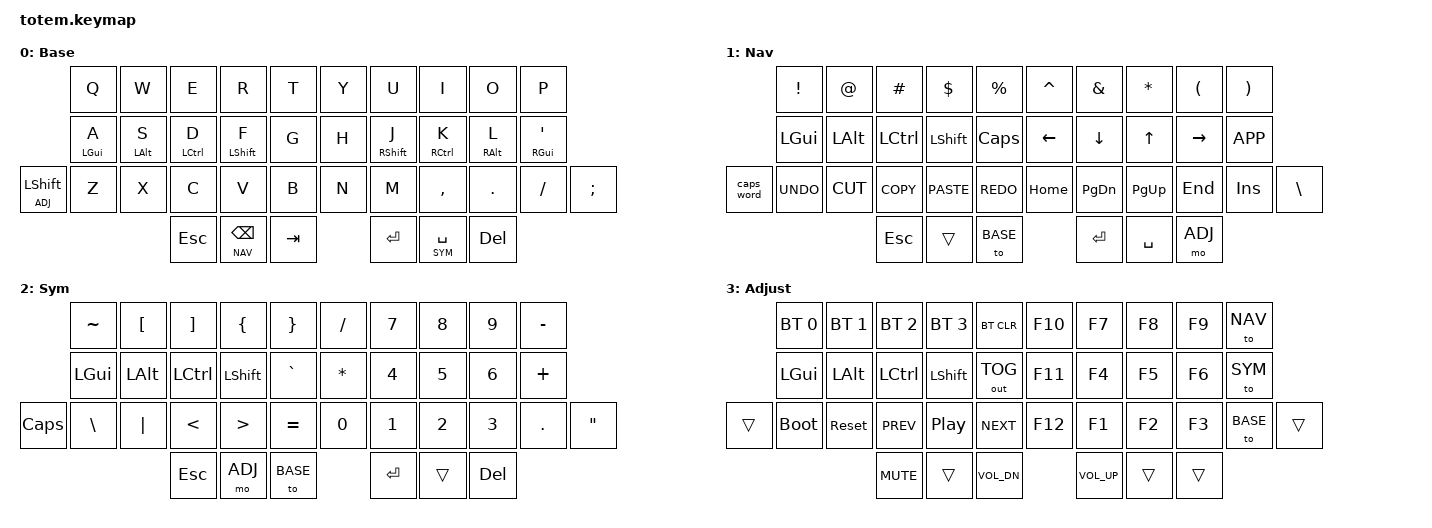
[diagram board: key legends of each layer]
#include <behaviors.dtsi>
#include <dt-bindings/zmk/keys.h>
#include <dt-bindings/zmk/bt.h>
#include <dt-bindings/zmk/outputs.h>

#define BASE 0
#define NAV  1
#define SYM  2
#define ADJ  3

// ---------------------------------------------------------------------------
// Verified key positions, taken from the stock TOTEM shield keymap.
//
//   0..9    top row     Q W E R T | Y U I O P
//   10..19  home row    A S D F G | H J K L '
//   20      LEFT PINKY  (sits at the start of the bottom row)
//   21..30  bottom row  Z X C V B | N M , . /
//   31      RIGHT PINKY (sits at the end of the bottom row)
//   32..34  left thumb  ESC SPACE TAB
//   35..37  right thumb RET BSPC DEL
//
// Note the two pinky keys flank the BOTTOM row, not the home row.
// ---------------------------------------------------------------------------

#define LEFT_KEYS  0 1 2 3 4 10 11 12 13 14 20 21 22 23 24 25
#define RIGHT_KEYS 5 6 7 8 9 15 16 17 18 19 26 27 28 29 30 31
#define THUMBS     32 33 34 35 36 37

/ {
    behaviors {
        // Left-hand home row mods. Only right-hand keys and thumbs can
        // trigger the hold, so same-hand rolls always resolve as taps.
        hml: home_row_mod_left {
            compatible = "zmk,behavior-hold-tap";
            #binding-cells = <2>;
            flavor = "balanced";
            tapping-term-ms = <280>;
            quick-tap-ms = <175>;
            require-prior-idle-ms = <150>;
            hold-trigger-key-positions = <RIGHT_KEYS THUMBS>;
            hold-trigger-on-release;
            bindings = <&kp>, <&kp>;
        };

        // Right-hand mirror.
        hmr: home_row_mod_right {
            compatible = "zmk,behavior-hold-tap";
            #binding-cells = <2>;
            flavor = "balanced";
            tapping-term-ms = <280>;
            quick-tap-ms = <175>;
            require-prior-idle-ms = <150>;
            hold-trigger-key-positions = <LEFT_KEYS THUMBS>;
            hold-trigger-on-release;
            bindings = <&kp>, <&kp>;
        };

        // Left pinky: tap for sticky shift, hold for the adjust layer.
        // tap-preferred because the tap is by far the more common intent.
        sl_shift: sticky_shift_or_layer {
            compatible = "zmk,behavior-hold-tap";
            #binding-cells = <2>;
            flavor = "tap-preferred";
            tapping-term-ms = <200>;
            bindings = <&mo>, <&sk>;
        };
    };

    conditional_layers {
        compatible = "zmk,conditional-layers";
        tri_layer {
            if-layers = <NAV SYM>;
            then-layer = <ADJ>;
        };
    };

    macros {
        macro_pars: macro_pars {
            compatible = "zmk,behavior-macro";
            #binding-cells = <0>;
            bindings = <&kp LPAR &kp RPAR &kp LEFT>;
        };
        macro_bkts: macro_bkts {
            compatible = "zmk,behavior-macro";
            #binding-cells = <0>;
            bindings = <&kp LBKT &kp RBKT &kp LEFT>;
        };
        macro_brcs: macro_brcs {
            compatible = "zmk,behavior-macro";
            #binding-cells = <0>;
            bindings = <&kp LBRC &kp RBRC &kp LEFT>;
        };
    };

    combos {
        compatible = "zmk,combos";

        // Left top row: W+E for escape.
        combo_esc {
            timeout-ms = <40>;
            require-prior-idle-ms = <120>;
            key-positions = <1 2>;
            bindings = <&kp ESC>;
            layers = <BASE>;
        };

        // Left top row: E R T -> square brackets, sliding window.
        combo_lbkt {
            timeout-ms = <40>;
            require-prior-idle-ms = <120>;
            key-positions = <2 3>;
            bindings = <&kp LBKT>;
            layers = <BASE>;
        };
        combo_rbkt {
            timeout-ms = <40>;
            require-prior-idle-ms = <120>;
            key-positions = <3 4>;
            bindings = <&kp RBKT>;
            layers = <BASE>;
        };
        combo_bkts {
            timeout-ms = <50>;
            require-prior-idle-ms = <120>;
            key-positions = <2 3 4>;
            bindings = <&macro_bkts>;
            layers = <BASE>;
        };

        // Right top row: U I O -> parentheses, sliding window.
        combo_lpar {
            timeout-ms = <40>;
            require-prior-idle-ms = <120>;
            key-positions = <6 7>;
            bindings = <&kp LPAR>;
            layers = <BASE>;
        };
        combo_rpar {
            timeout-ms = <40>;
            require-prior-idle-ms = <120>;
            key-positions = <7 8>;
            bindings = <&kp RPAR>;
            layers = <BASE>;
        };
        combo_pars {
            timeout-ms = <50>;
            require-prior-idle-ms = <120>;
            key-positions = <6 7 8>;
            bindings = <&macro_pars>;
            layers = <BASE>;
        };

        // Left bottom row: X C V -> curly braces, sliding window.
        combo_lbrc {
            timeout-ms = <40>;
            require-prior-idle-ms = <120>;
            key-positions = <22 23>;
            bindings = <&kp LBRC>;
            layers = <BASE>;
        };
        combo_rbrc {
            timeout-ms = <40>;
            require-prior-idle-ms = <120>;
            key-positions = <23 24>;
            bindings = <&kp RBRC>;
            layers = <BASE>;
        };
        combo_brcs {
            timeout-ms = <50>;
            require-prior-idle-ms = <120>;
            key-positions = <22 23 24>;
            bindings = <&macro_brcs>;
            layers = <BASE>;
        };

        // Home row index fingers (F + J) for caps word.
        combo_caps_word {
            timeout-ms = <50>;
            require-prior-idle-ms = <120>;
            key-positions = <13 16>;
            bindings = <&caps_word>;
            layers = <BASE>;
        };
    };

    keymap {
        compatible = "zmk,keymap";

        base_layer {
            display-name = "Base";
            bindings = <
                       &kp Q         &kp W        &kp E         &kp R         &kp T           &kp Y      &kp U         &kp I        &kp O        &kp P
                       &hml LGUI A   &hml LALT S  &hml LCTRL D  &hml LSHFT F  &kp G           &kp H      &hmr RSHFT J  &hmr RCTRL K &hmr RALT L  &hmr RGUI SQT
&sl_shift ADJ LSHFT    &kp Z         &kp X        &kp C         &kp V         &kp B           &kp N      &kp M         &kp COMMA    &kp DOT      &kp SLASH      &kp SEMI
                                                  &kp ESC       &lt NAV BSPC  &kp TAB                    &kp RET       &lt SYM SPACE &kp DEL
            >;
        };

        nav_layer {
            display-name = "Nav";
            bindings = <
                       &kp EXCL      &kp AT       &kp HASH      &kp DLLR      &kp PRCNT       &kp CARET  &kp AMPS      &kp ASTRK    &kp LPAR     &kp RPAR
                       &kp LGUI      &kp LALT     &kp LCTRL     &kp LSHFT     &kp CAPS        &kp LEFT   &kp DOWN      &kp UP       &kp RIGHT    &kp K_APP
&caps_word             &kp K_UNDO    &kp K_CUT    &kp K_COPY    &kp K_PASTE   &kp K_REDO      &kp HOME   &kp PG_DN     &kp PG_UP    &kp END      &kp INS        &kp BSLH
                                                  &kp ESC       &trans        &to BASE                   &kp RET       &kp SPACE    &mo ADJ
            >;
        };

        sym_layer {
            display-name = "Sym";
            bindings = <
                       &kp TILDE     &kp LBKT     &kp RBKT      &kp LBRC      &kp RBRC        &kp SLASH  &kp N7        &kp N8       &kp N9       &kp MINUS
                       &kp LGUI      &kp LALT     &kp LCTRL     &kp LSHFT     &kp GRAVE       &kp ASTRK  &kp N4        &kp N5       &kp N6       &kp PLUS
&kp CAPS               &kp BSLH      &kp PIPE     &kp LT        &kp GT        &kp EQUAL       &kp N0     &kp N1        &kp N2       &kp N3       &kp DOT        &kp DQT
                                                  &kp ESC       &mo ADJ       &to BASE                   &kp RET       &trans       &kp DEL
            >;
        };

        adjust_layer {
            display-name = "Adjust";
            bindings = <
                       &bt BT_SEL 0  &bt BT_SEL 1 &bt BT_SEL 2  &bt BT_SEL 3  &bt BT_CLR      &kp F10    &kp F7        &kp F8       &kp F9       &to NAV
                       &kp LGUI      &kp LALT     &kp LCTRL     &kp LSHFT     &out OUT_TOG    &kp F11    &kp F4        &kp F5       &kp F6       &to SYM
&trans                 &bootloader   &sys_reset   &kp C_PREV    &kp C_PP      &kp C_NEXT      &kp F12    &kp F1        &kp F2       &kp F3       &to BASE       &trans
                                                  &kp C_MUTE    &trans        &kp C_VOL_DN               &kp C_VOL_UP  &trans       &trans
            >;
        };
    };
};

// ---------------------------------------------------------------------------
// Sticky key tuning. quick-release drops the modifier as soon as the next key
// registers, so holding the sticky shift and releasing it does not leave a
// stray shift armed for the following keystroke.
// ---------------------------------------------------------------------------

&sk {
    release-after-ms = <1000>;
    quick-release;
};

&caps_word {
    continue-list = <UNDERSCORE MINUS BACKSPACE DELETE>;
};
